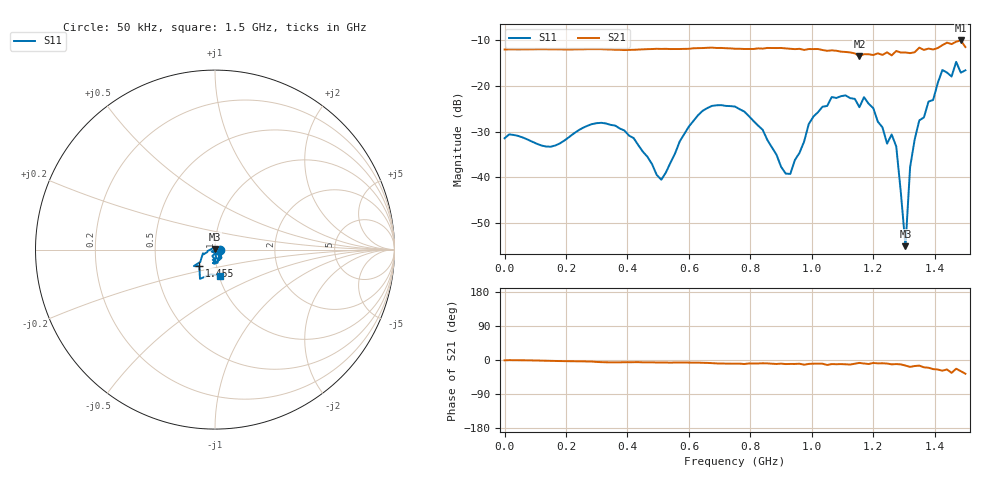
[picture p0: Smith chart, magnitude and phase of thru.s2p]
! Created with skrf 1.8.0 (http://scikit-rf.org).
# Hz S RI R 50.0
!freq ReS11 ImS11 ReS21 ImS21 ReS12 ImS12 ReS22 ImS22
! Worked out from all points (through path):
!   101 points, 50 kHz to 1.5 GHz, reference 50 ohm
!   highest |S21| = -10.06 dB at 1.485 GHz (marker M1); lowest = -13.5 dB at 1.155 GHz (marker M2)
!   group delay of S21, straight-line fit = 36.4 ps
!   lowest |S11| = -55.1 dB at 1.305 GHz (marker M3), VSWR 1.00, Z = 49.9 + j0.162 ohm
!   |S11| at or under -10 dB: start of sweep to end of sweep
!   S12 and S22 are empty: the file has one direction only
!   S11 on the Smith chart (normalised r, x): 50 kHz: 1.05, +0.00; 1.455 GHz: 0.83, -0.15; 1.5 GHz: 1.01, -0.30
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50000  0.0268 0.000117  0.2499 -0.00377  0 0  0 0
1.50045e8  0.0211 -0.00483  0.251 -0.00978  0 0  0 0
2.550415e8  0.0282 -0.0204  0.2507 -0.0158  0 0  0 0
3.90037e8  0.0313 -0.00863  0.2452 -0.025  0 0  0 0
5.10033e8  0.00835 -0.00432  0.2518 -0.0293  0 0  0 0
6.30029e8  0.00864 -0.0471  0.2568 -0.0315  0 0  0 0
7.50025e8  0.0346 -0.0483  0.251 -0.0431  0 0  0 0
9.150195e8  0.0053 -0.00961  0.2525 -0.0479  0 0  0 0
1.005016e9  -0.00826 -0.0453  0.249 -0.043  0 0  0 0
1.065014e9  -0.0114 -0.0747  0.2404 -0.0455  0 0  0 0
1.155012e9  -0.00149 -0.0584  0.2092 -0.0283  0 0  0 0
1.170011e9  0.0135 -0.074  0.2193 -0.0357  0 0  0 0
1.245008e9  0.00414 -0.023  0.2297 -0.0376  0 0  0 0
1.260008e9  0.0262 -0.0133  0.2114 -0.0428  0 0  0 0
1.275008e9  -0.0185 -0.0112  0.2366 -0.0448  0 0  0 0
1.305006e9  -0.000704 0.00162  0.2243 -0.059  0 0  0 0
1.320006e9  -0.00526 0.0118  0.2168 -0.0711  0 0  0 0
1.350005e9  -0.0412 -0.00767  0.2531 -0.0674  0 0  0 0
1.425002e9  -0.1175 -0.0918  0.2457 -0.1317  0 0  0 0
1.455002e9  -0.0876 -0.0916  0.2378 -0.1597  0 0  0 0
1.485e9  -0.023 -0.1377  0.2733 -0.1545  0 0  0 0
1.5e9  0.0291 -0.1451  0.2144 -0.1573  0 0  0 0
